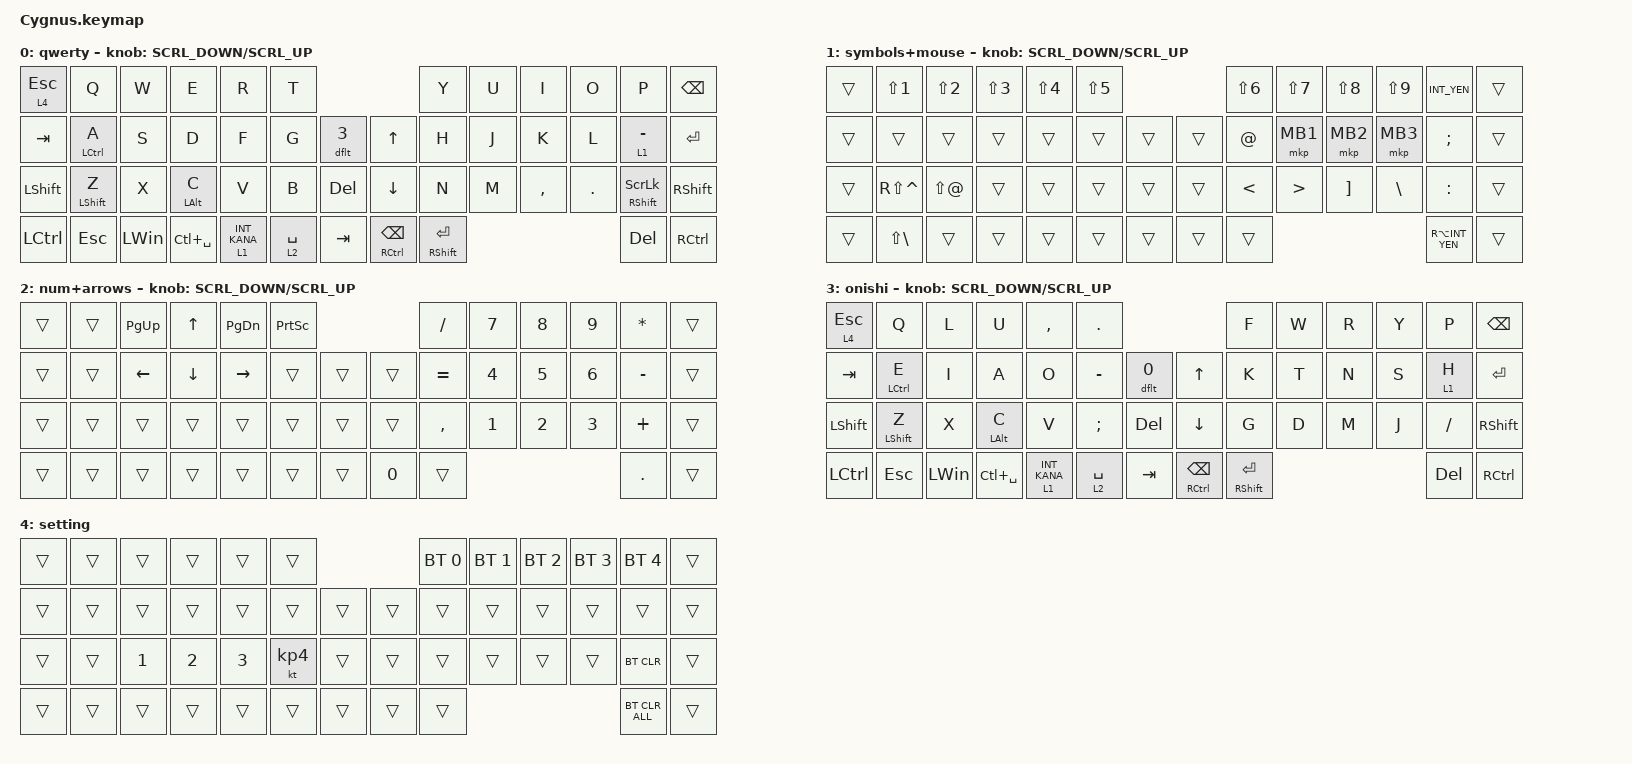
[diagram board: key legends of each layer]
#define ZMK_POINTING_DEFAULT_SCRL_VAL 120    // default: 10

#include <behaviors.dtsi>
#include <dt-bindings/zmk/bt.h>
#include <dt-bindings/zmk/keys.h>
#include <dt-bindings/zmk/pointing.h>

#define MOUSE 4
#define SCROLL 5
#define NUM 6

&mt {
    flavor = "balanced";
    quick-tap-ms = <0>;
};

/ {
    combos {
        compatible = "zmk,combos";

        double_quotation {
            bindings = <&kp DOUBLE_QUOTES>;
            key-positions = <20 21>;
        };
    };

    macros {
        to_layer_0: to_layer_0 {
            compatible = "zmk,behavior-macro-one-param";
            #binding-cells = <1>;
            bindings = <&to 0 &macro_param_1to1 &kp MACRO_PLACEHOLDER>;
            label = "TO_LAYER_0";
        };
    };

    behaviors {
        lt_to_layer_0: lt_to_layer_0 {
            compatible = "zmk,behavior-hold-tap";
            label = "LAYER_TAP_TO_0";
            bindings = <&mo>, <&to_layer_0>;

            #binding-cells = <2>;
            tapping-term-ms = <200>;
        };

        ROTATE: ROTATE {
            compatible = "zmk,behavior-sensor-rotate-var";
            label = "ROTATE";
            #sensor-binding-cells = <2>;
            bindings = <&msc>, <&msc>;

            tap-ms = <20>;
        };
    };

    keymap {
        compatible = "zmk,keymap";

        qwerty {
            bindings = <
&lt 4 ESC  &kp Q        &kp W         &kp E          &kp R           &kp T                                           &kp Y                  &kp U  &kp I      &kp O    &kp P                 &kp BSPC
&kp TAB    &mt LCTRL A  &kp S         &kp D          &kp F           &kp G        &dflt 3         &kp UP_ARROW         &kp H                  &kp J  &kp K      &kp L    &lt 1 MINUS           &kp ENTER
&kp LSHFT  &mt LSHFT Z  &kp X         &mt LALT C     &kp V           &kp B        &kp DELETE    &kp DOWN_ARROW       &kp N                  &kp M  &kp COMMA  &kp DOT  &mt RSHFT SCROLLLOCK  &kp RSHFT
&kp LCTRL  &kp ESCAPE   &kp LEFT_WIN  &kp LC(SPACE)  &lt 1 INT_KANA  &lt 2 SPACE  &kp TAB       &mt RCTRL BACKSPACE  &mt RIGHT_SHIFT ENTER                             &kp DEL               &kp RCTRL
            >;

            sensor-bindings = <&ROTATE SCRL_DOWN SCRL_UP>;
        };

        symbols+mouse {
            bindings = <
&trans  &kp LS(NUMBER_1)   &kp LS(NUMBER_2)  &kp LS(NUMBER_3)  &kp LS(NUMBER_4)  &kp LS(N5)                    &kp LS(NUMBER_6)  &kp LS(N7)        &kp LS(N8)         &kp LS(N9)     &kp INT_YEN      &trans
&trans  &trans             &trans            &trans            &trans            &trans      &trans    &trans  &kp AT            &mkp MB1          &mkp MB2           &mkp MB3       &kp SEMI         &trans
&trans  &kp RS(CARET)      &kp LS(AT_SIGN)   &trans            &trans            &trans      &trans    &trans  &kp LESS_THAN     &kp GREATER_THAN  &kp RIGHT_BRACKET  &kp BACKSLASH  &kp COLON        &trans
&trans  &kp LS(BACKSLASH)  &trans            &trans            &trans            &trans      &trans    &trans  &trans                                                                &kp RA(INT_YEN)  &trans
            >;

            sensor-bindings = <&ROTATE SCRL_DOWN SCRL_UP>;
        };

        num+arrows {
            bindings = <
&trans  &trans  &kp PAGE_UP  &kp UP          &kp PAGE_DOWN  &kp PRINTSCREEN                    &kp SLASH  &kp N7        &kp N8        &kp N9        &kp ASTRK   &trans
&trans  &trans  &kp LEFT     &kp DOWN_ARROW  &kp RIGHT      &trans           &trans    &trans  &kp EQUAL  &kp NUMBER_4  &kp N5        &kp NUMBER_6  &kp MINUS   &trans
&trans  &trans  &trans       &trans          &trans         &trans           &trans    &trans  &kp COMMA  &kp NUMBER_1  &kp NUMBER_2  &kp NUMBER_3  &kp PLUS    &trans
&trans  &trans  &trans       &trans          &trans         &trans           &trans    &kp N0  &trans                                               &kp PERIOD  &trans
            >;

            sensor-bindings = <&ROTATE SCRL_DOWN SCRL_UP>;
        };

        onishi {
            bindings = <
&lt 4 ESC  &kp Q        &kp L         &kp U           &kp COMMA       &kp PERIOD                                      &kp F                  &kp W  &kp R  &kp Y  &kp P     &kp BSPC
&kp TAB    &mt LCTRL E  &kp I         &kp A           &kp O           &kp MINUS    &dflt 0         &kp UP_ARROW         &kp K                  &kp T  &kp N  &kp S  &lt 1 H   &kp ENTER
&kp LSHFT  &mt LSHFT Z  &kp X         &mt LEFT_ALT C  &kp V           &kp SEMI     &kp DELETE    &kp DOWN_ARROW       &kp G                  &kp D  &kp M  &kp J  &kp FSLH  &kp RSHFT
&kp LCTRL  &kp ESCAPE   &kp LEFT_WIN  &kp LC(SPACE)   &lt 1 INT_KANA  &lt 2 SPACE  &kp TAB       &mt RCTRL BACKSPACE  &mt RIGHT_SHIFT ENTER                       &kp DEL   &kp RCTRL
            >;

            sensor-bindings = <&ROTATE SCRL_DOWN SCRL_UP>;
        };

        setting {
            bindings = <
&trans  &trans  &trans        &trans        &trans        &trans                       &bt BT_SEL 0  &bt BT_SEL 1  &bt BT_SEL 2  &bt BT_SEL 3  &bt BT_SEL 4    &trans
&trans  &trans  &trans        &trans        &trans        &trans     &trans    &trans  &trans        &trans        &trans        &trans        &trans          &trans
&trans  &trans  &kp NUMBER_1  &kp NUMBER_2  &kp NUMBER_3  &kt KP_N4  &trans    &trans  &trans        &trans        &trans        &trans        &bt BT_CLR      &trans
&trans  &trans  &trans        &trans        &trans        &trans     &trans    &trans  &trans                                                  &bt BT_CLR_ALL  &trans
            >;
        };
    };
};
